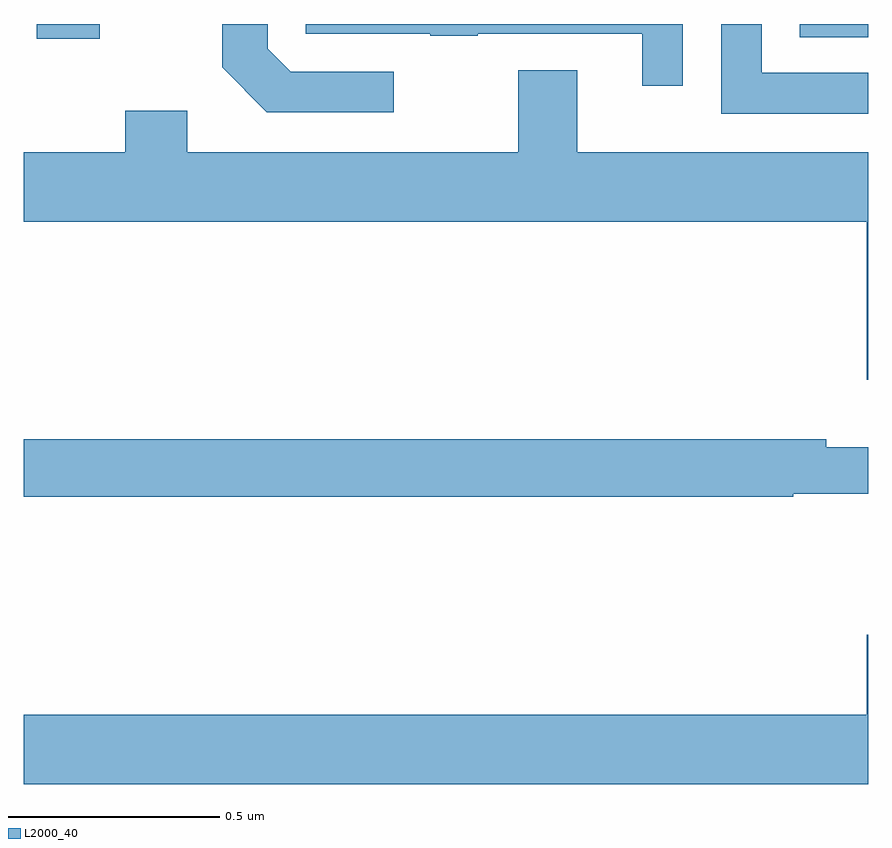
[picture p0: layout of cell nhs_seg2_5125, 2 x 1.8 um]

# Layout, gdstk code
import gdstk
lib = gdstk.Library(unit=1e-6, precision=1e-09)
def R(c, l, rs):  # rectangles x0, y0, x1, y1
    for r in rs: c.add(gdstk.rectangle(r[:2], r[2:], *l))
def P(c, l, *ps):  # polygons
    for p in ps: c.add(gdstk.Polygon(p, *l))
L2000_40 = (2000, 40)

nhs_seg2_5125 = lib.new_cell('nhs_seg2_5125')
R(nhs_seg2_5125, L2000_40, [(175.031,618.765,175.18,618.8), (176.838,618.769,177,618.8)])
P(nhs_seg2_5125, L2000_40, [(177,618.684),(176.748,618.684),(176.748,618.8),(176.652,618.8),(176.652,618.588),(177,618.588)],
  [(175.876,618.687),(175.632,618.687),(175.578,618.741),(175.578,618.8),(175.47,618.8),(175.47,618.697),(175.575,618.591),(175.876,618.591)],
  [(176.561,618.8),(175.668,618.8),(175.668,618.777),(175.963,618.777),(175.963,618.772),(176.075,618.772),(176.075,618.777),(176.465,618.777),(176.465,618.654),(176.561,618.654)],
  [(177,618.496),(176.311,618.496),(176.311,618.691),(176.171,618.691),(176.171,618.496),(175.387,618.496),(175.387,618.595),(175.24,618.595),(175.24,618.496),(175,618.496),(175,618.332),(176.996,618.332),(176.996,617.958),(177,617.958)],
  [(176.822,617.688),(177,617.688),(177,617.797),(176.9,617.797),(176.9,617.816),(175,617.816),(175,617.68),(176.822,617.68)],
  [(177,617.353),(176.996,617.353),(176.996,617.164),(175,617.164),(175,617),(177,617)])

lib.write_gds('nhs_seg2_5125.gds')
